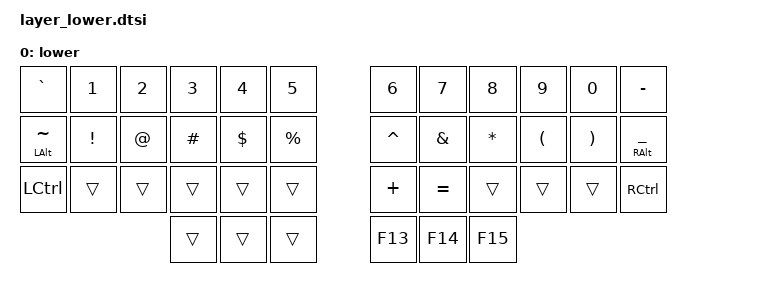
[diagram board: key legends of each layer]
/**
 * Lower Layer
 */

/ {
    keymap {
        compatible = "zmk,keymap";

        lower_layer {
            display-name = "lower";
            bindings = <
// ╭───────────────┬───────────────┬───────────────┬───────────────┬───────────────┬───────────────╮   ╭───────────────┬───────────────┬───────────────┬───────────────┬───────────────┬───────────────╮
// │0              │1              │2              │3              │4              │5              │   │6              │7              │8              │9              │10             │11             │
    &kp GRAVE       &kp N1          &kp N2          &kp N3          &kp N4          &kp N5              &kp N6          &kp N7          &kp N8          &kp N9          &kp N0          &kp MINUS
// ├───────────────├───────────────┼───────────────┼───────────────┼───────────────┼───────────────┤   ├───────────────├───────────────┼───────────────┼───────────────┼───────────────┼───────────────┤
// │12             │13             │14             │15             │16             │17             │   │18             │19             │20             │21             │22             │23             │
    &mt LALT TILDE  &kp EXCL        &kp AT          &kp HASH        &kp DLLR        &kp PRCNT           &kp CARET       &kp AMPS        &kp ASTRK       &kp LPAR        &kp RPAR        &mt RALT UNDERSCORE
// ├───────────────├───────────────┼───────────────┼───────────────┼───────────────┼───────────────┤   ├───────────────├───────────────┼───────────────┼───────────────┼───────────────┼───────────────┤
// │24             │25             │26             │27             │28             │29             │   │30             │31             │32             │33             │34             │35             │
    &kp LCTRL       &trans          &trans          &trans          &trans          &trans              &kp PLUS        &kp EQUAL       &trans          &trans          &trans          &kp RCTRL
// ╰───────────────┴───────────────┴───────────────┼───────────────┼───────────────┼───────────────┤   ├───────────────├───────────────┼───────────────┼───────────────┴───────────────┴───────────────╯
//                                                 │36             │37             │38             │   │39             │40             │41             │
                                                    &trans          &trans          &trans              &kp F13         &kp F14         &kp F15
//                                                 ╰───────────────┴───────────────┴───────────────╯   ╰───────────────┴───────────────┴───────────────╯
            >;
        };
    };
};
